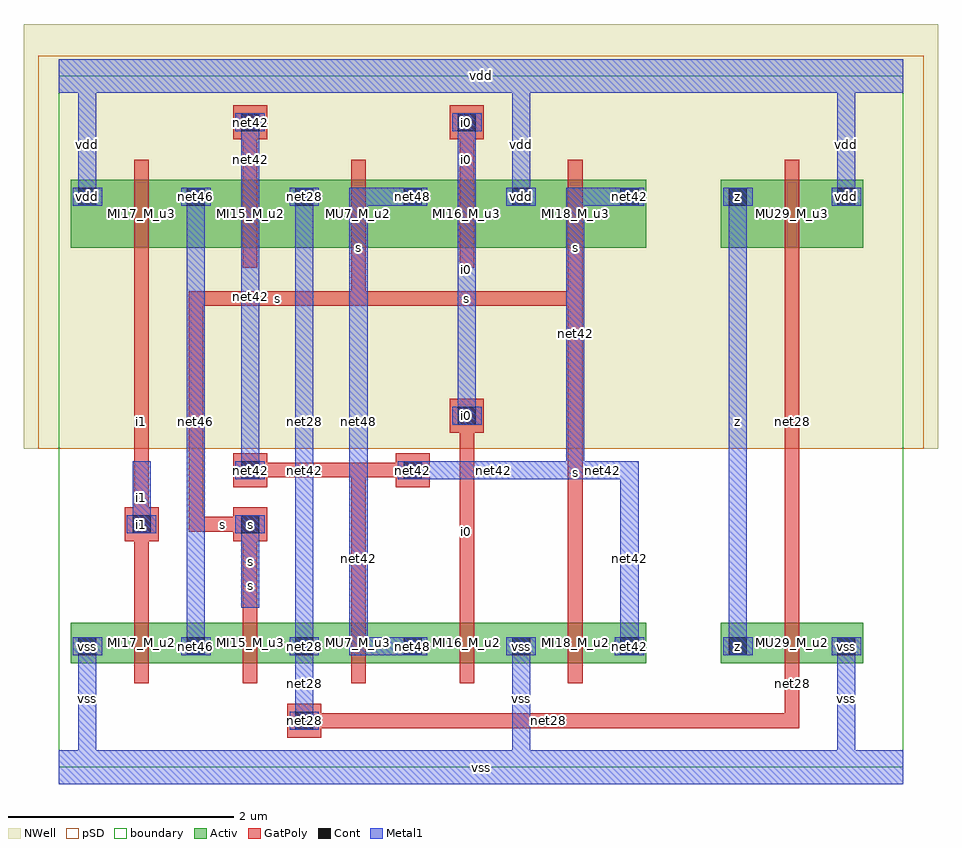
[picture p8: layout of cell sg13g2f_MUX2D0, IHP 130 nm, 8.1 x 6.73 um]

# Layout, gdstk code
import gdstk
lib = gdstk.Library(unit=1e-6, precision=1e-09)
def R(c, l, rs):  # rectangles x0, y0, x1, y1
    for r in rs: c.add(gdstk.rectangle(r[:2], r[2:], *l))
def A(c, l, x, y, w, h, nx, ny, dx, dy):  # array of equal rectangles
    R(c, l, [(x+i*dx, y+j*dy, x+i*dx+w, y+j*dy+h) for i in range(nx) for j in range(ny)])
Activ = (1, 0)
GatPoly = (5, 0)
Cont = (6, 0)
Metal1 = (8, 0)
pSD = (14, 0)
NWell = (31, 0)
TEXT = (63, 0)
boundary = (189, 4)

sg13g2f_mux2d0 = lib.new_cell('sg13g2f_MUX2D0')
A(sg13g2f_mux2d0, Activ, 0.105, 0.92, 1.26, 0.36, 5, 1, 0.96, 0)
A(sg13g2f_mux2d0, Activ, 0.105, 0.92, 0.3, 0.3, 8, 2, 0.96, 3.98)
A(sg13g2f_mux2d0, Activ, 0.105, 4.6, 1.26, 0.6, 5, 1, 0.96, 0)
R(sg13g2f_mux2d0, Activ, [(5.865,0.92,7.125,1.28), (5.865,4.6,7.125,5.2)])
A(sg13g2f_mux2d0, GatPoly, 0.67, 0.74, 0.13, 0.72, 5, 1, 0.96, 0)
A(sg13g2f_mux2d0, GatPoly, 0.67, 4.42, 0.13, 0.96, 5, 1, 0.96, 0)
R(sg13g2f_mux2d0, GatPoly, [(2.025,0.26,2.325,0.56), (2.11,0.345,6.56,0.475), (6.43,0.345,6.56,1.135), (6.43,0.74,6.56,1.46), (0.67,1.005,0.8,5.115), (1.63,1.005,1.76,2.215), (2.59,1.005,2.72,2.695), (3.55,1.005,3.68,3.175), (4.51,1.005,4.64,4.215), (6.43,1.005,6.56,5.115), (0.585,2,0.885,2.3), (1.545,2,1.845,2.3), (1.15,2.085,1.76,2.215), (1.15,2.085,1.28,4.215), (1.545,2.48,1.845,2.78), (2.985,2.48,3.285,2.78), (1.63,2.565,2.72,2.695), (2.59,2.565,3.2,2.695), (3.465,2.96,3.765,3.26), (1.15,4.085,2.72,4.215), (2.59,4.085,2.72,5.115), (2.59,4.085,4.64,4.215), (4.51,4.085,4.64,5.115), (6.43,4.42,6.56,5.38), (1.63,4.985,1.76,5.775), (3.55,4.985,3.68,5.775), (1.545,5.56,1.845,5.86), (3.465,5.56,3.765,5.86)])
A(sg13g2f_mux2d0, Cont, 0.175, 0.99, 0.16, 0.16, 8, 2, 0.96, 3.98)
R(sg13g2f_mux2d0, Cont, [(2.095,0.33,2.255,0.49), (0.655,2.07,0.815,2.23), (1.615,2.07,1.775,2.23), (1.615,2.55,1.775,2.71), (3.055,2.55,3.215,2.71), (3.535,3.03,3.695,3.19), (1.615,5.63,1.775,5.79), (3.535,5.63,3.695,5.79)])
A(sg13g2f_mux2d0, Metal1, 0.125, 0.99, 0.26, 0.16, 8, 2, 0.96, 3.98)
R(sg13g2f_mux2d0, Metal1, [(0,-0.15,7.48,0.15), (0.175,0.07,0.335,1.15), (4.015,0.07,4.175,1.15), (6.895,0.07,7.055,1.15), (2.045,0.33,2.305,0.49), (2.095,0.33,2.255,1.15), (1.135,0.99,1.295,5.13), (2.095,0.99,2.255,5.13), (2.575,0.99,2.735,5.13), (2.575,0.99,3.215,1.15), (4.975,0.99,5.135,2.71), (5.935,0.99,6.095,5.13), (1.615,1.41,1.775,2.23), (0.605,2.07,0.865,2.23), (0.655,2.07,0.815,2.71), (1.565,2.07,1.825,2.23), (1.565,2.55,1.825,2.71), (1.615,2.55,1.775,5.79), (3.005,2.55,3.265,2.71), (3.055,2.55,4.655,2.71), (4.495,2.55,5.135,2.71), (4.495,2.55,4.655,5.13), (3.485,3.03,3.745,3.19), (3.535,3.03,3.695,5.79), (0.175,4.97,0.335,6.05), (2.575,4.97,3.215,5.13), (4.015,4.97,4.175,6.05), (4.495,4.97,5.135,5.13), (6.895,4.97,7.055,6.05), (1.565,5.63,1.825,5.79), (3.485,5.63,3.745,5.79), (0,5.97,7.48,6.27)])
R(sg13g2f_mux2d0, pSD, [(-0.18,2.82,7.66,5.94), (-0.18,5.94,7.66,6.3)])
R(sg13g2f_mux2d0, NWell, [(-0.31,2.82,7.79,6.58)])
R(sg13g2f_mux2d0, boundary, [(0,0,7.48,6.12)])
sg13g2f_mux2d0.add(gdstk.FlexPath([(0.105,0.41),(7.125,0.41)], 0, ends="flush", simple_path=True, layer=63, datatype=0))  # TEXT
sg13g2f_mux2d0.add(gdstk.FlexPath([(0.105,1.07),(7.125,1.07)], 0, ends="flush", simple_path=True, layer=63, datatype=0))  # TEXT
sg13g2f_mux2d0.add(gdstk.FlexPath([(0.105,1.49),(7.125,1.49)], 0, ends="flush", simple_path=True, layer=63, datatype=0))  # TEXT
sg13g2f_mux2d0.add(gdstk.FlexPath([(0.105,2.15),(7.125,2.15)], 0, ends="flush", simple_path=True, layer=63, datatype=0))  # TEXT
sg13g2f_mux2d0.add(gdstk.FlexPath([(0.105,2.63),(7.125,2.63)], 0, ends="flush", simple_path=True, layer=63, datatype=0))  # TEXT
sg13g2f_mux2d0.add(gdstk.FlexPath([(0.105,3.11),(7.125,3.11)], 0, ends="flush", simple_path=True, layer=63, datatype=0))  # TEXT
sg13g2f_mux2d0.add(gdstk.FlexPath([(0.105,4.15),(7.125,4.15)], 0, ends="flush", simple_path=True, layer=63, datatype=0))  # TEXT
sg13g2f_mux2d0.add(gdstk.FlexPath([(0.105,4.71),(7.125,4.71)], 0, ends="flush", simple_path=True, layer=63, datatype=0))  # TEXT
sg13g2f_mux2d0.add(gdstk.FlexPath([(0.105,5.05),(7.125,5.05)], 0, ends="flush", simple_path=True, layer=63, datatype=0))  # TEXT
sg13g2f_mux2d0.add(gdstk.FlexPath([(0.105,5.71),(7.125,5.71)], 0, ends="flush", simple_path=True, layer=63, datatype=0))  # TEXT
sg13g2f_mux2d0.add(gdstk.FlexPath([(0.255,0.07),(0.255,6.05)], 0, ends="flush", simple_path=True, layer=63, datatype=0))  # TEXT
sg13g2f_mux2d0.add(gdstk.FlexPath([(0.735,0.07),(0.735,6.05)], 0, ends="flush", simple_path=True, layer=63, datatype=0))  # TEXT
sg13g2f_mux2d0.add(gdstk.FlexPath([(1.215,0.07),(1.215,6.05)], 0, ends="flush", simple_path=True, layer=63, datatype=0))  # TEXT
sg13g2f_mux2d0.add(gdstk.FlexPath([(1.695,0.07),(1.695,6.05)], 0, ends="flush", simple_path=True, layer=63, datatype=0))  # TEXT
sg13g2f_mux2d0.add(gdstk.FlexPath([(2.175,0.07),(2.175,6.05)], 0, ends="flush", simple_path=True, layer=63, datatype=0))  # TEXT
sg13g2f_mux2d0.add(gdstk.FlexPath([(2.655,0.07),(2.655,6.05)], 0, ends="flush", simple_path=True, layer=63, datatype=0))  # TEXT
sg13g2f_mux2d0.add(gdstk.FlexPath([(3.135,0.07),(3.135,6.05)], 0, ends="flush", simple_path=True, layer=63, datatype=0))  # TEXT
sg13g2f_mux2d0.add(gdstk.FlexPath([(3.615,0.07),(3.615,6.05)], 0, ends="flush", simple_path=True, layer=63, datatype=0))  # TEXT
sg13g2f_mux2d0.add(gdstk.FlexPath([(4.095,0.07),(4.095,6.05)], 0, ends="flush", simple_path=True, layer=63, datatype=0))  # TEXT
sg13g2f_mux2d0.add(gdstk.FlexPath([(4.575,0.07),(4.575,6.05)], 0, ends="flush", simple_path=True, layer=63, datatype=0))  # TEXT
sg13g2f_mux2d0.add(gdstk.FlexPath([(5.055,0.07),(5.055,6.05)], 0, ends="flush", simple_path=True, layer=63, datatype=0))  # TEXT
sg13g2f_mux2d0.add(gdstk.FlexPath([(5.535,0.07),(5.535,6.05)], 0, ends="flush", simple_path=True, layer=63, datatype=0))  # TEXT
sg13g2f_mux2d0.add(gdstk.FlexPath([(6.015,0.07),(6.015,6.05)], 0, ends="flush", simple_path=True, layer=63, datatype=0))  # TEXT
sg13g2f_mux2d0.add(gdstk.FlexPath([(6.495,0.07),(6.495,6.05)], 0, ends="flush", simple_path=True, layer=63, datatype=0))  # TEXT
sg13g2f_mux2d0.add(gdstk.FlexPath([(6.975,0.07),(6.975,6.05)], 0, ends="flush", simple_path=True, layer=63, datatype=0))  # TEXT
sg13g2f_mux2d0.add(gdstk.Label('net46', (1.215,1.07), layer=6, texttype=0))
sg13g2f_mux2d0.add(gdstk.Label('net46', (1.215,5.05), layer=6, texttype=0))
sg13g2f_mux2d0.add(gdstk.Label('s', (1.695,2.15), layer=6, texttype=0))
sg13g2f_mux2d0.add(gdstk.Label('net28', (2.175,1.07), layer=6, texttype=0))
sg13g2f_mux2d0.add(gdstk.Label('net28', (2.175,5.05), layer=6, texttype=0))
sg13g2f_mux2d0.add(gdstk.Label('net28', (2.175,0.41), layer=6, texttype=0))
sg13g2f_mux2d0.add(gdstk.Label('net48', (3.135,1.07), layer=6, texttype=0))
sg13g2f_mux2d0.add(gdstk.Label('net48', (3.135,5.05), layer=6, texttype=0))
sg13g2f_mux2d0.add(gdstk.Label('net42', (5.055,1.07), layer=6, texttype=0))
sg13g2f_mux2d0.add(gdstk.Label('net42', (5.055,5.05), layer=6, texttype=0))
sg13g2f_mux2d0.add(gdstk.Label('net42', (1.695,2.63), layer=6, texttype=0))
sg13g2f_mux2d0.add(gdstk.Label('net42', (1.695,5.71), layer=6, texttype=0))
sg13g2f_mux2d0.add(gdstk.Label('net42', (3.135,2.63), layer=6, texttype=0))
sg13g2f_mux2d0.add(gdstk.Label('i0', (3.615,3.11), layer=6, texttype=0))
sg13g2f_mux2d0.add(gdstk.Label('i0', (3.615,5.71), layer=6, texttype=0))
sg13g2f_mux2d0.add(gdstk.Label('i1', (0.735,2.15), layer=6, texttype=0))
sg13g2f_mux2d0.add(gdstk.Label('z', (6.015,1.07), layer=6, texttype=0))
sg13g2f_mux2d0.add(gdstk.Label('z', (6.015,5.05), layer=6, texttype=0))
sg13g2f_mux2d0.add(gdstk.Label('vss', (4.095,1.07), layer=6, texttype=0))
sg13g2f_mux2d0.add(gdstk.Label('vss', (0.255,1.07), layer=6, texttype=0))
sg13g2f_mux2d0.add(gdstk.Label('vss', (6.975,1.07), layer=6, texttype=0))
sg13g2f_mux2d0.add(gdstk.Label('vdd', (4.095,5.05), layer=6, texttype=0))
sg13g2f_mux2d0.add(gdstk.Label('vdd', (0.255,5.05), layer=6, texttype=0))
sg13g2f_mux2d0.add(gdstk.Label('vdd', (6.975,5.05), layer=6, texttype=0))
sg13g2f_mux2d0.add(gdstk.Label('net46', (1.215,1.07), layer=8, texttype=0))
sg13g2f_mux2d0.add(gdstk.Label('net46', (1.215,5.05), layer=8, texttype=0))
sg13g2f_mux2d0.add(gdstk.Label('net46', (1.215,3.06), layer=8, texttype=0))
sg13g2f_mux2d0.add(gdstk.Label('net28', (2.175,1.07), layer=8, texttype=0))
sg13g2f_mux2d0.add(gdstk.Label('net28', (2.175,5.05), layer=8, texttype=0))
sg13g2f_mux2d0.add(gdstk.Label('net28', (2.175,0.74), layer=8, texttype=0))
sg13g2f_mux2d0.add(gdstk.Label('net28', (2.175,0.41), layer=8, texttype=0))
sg13g2f_mux2d0.add(gdstk.Label('net28', (2.175,3.06), layer=8, texttype=0))
sg13g2f_mux2d0.add(gdstk.Label('net48', (3.135,1.07), layer=8, texttype=0))
sg13g2f_mux2d0.add(gdstk.Label('net48', (3.135,5.05), layer=8, texttype=0))
sg13g2f_mux2d0.add(gdstk.Label('net48', (2.895,1.07), layer=8, texttype=0))
sg13g2f_mux2d0.add(gdstk.Label('net48', (2.655,3.06), layer=8, texttype=0))
sg13g2f_mux2d0.add(gdstk.Label('net48', (2.895,5.05), layer=8, texttype=0))
sg13g2f_mux2d0.add(gdstk.Label('net42', (5.055,1.07), layer=8, texttype=0))
sg13g2f_mux2d0.add(gdstk.Label('net42', (5.055,5.05), layer=8, texttype=0))
sg13g2f_mux2d0.add(gdstk.Label('net42', (1.695,2.63), layer=8, texttype=0))
sg13g2f_mux2d0.add(gdstk.Label('net42', (1.695,4.17), layer=8, texttype=0))
sg13g2f_mux2d0.add(gdstk.Label('net42', (1.695,5.71), layer=8, texttype=0))
sg13g2f_mux2d0.add(gdstk.Label('net42', (3.135,2.63), layer=8, texttype=0))
sg13g2f_mux2d0.add(gdstk.Label('net42', (3.855,2.63), layer=8, texttype=0))
sg13g2f_mux2d0.add(gdstk.Label('net42', (4.575,3.84), layer=8, texttype=0))
sg13g2f_mux2d0.add(gdstk.Label('net42', (4.815,5.05), layer=8, texttype=0))
sg13g2f_mux2d0.add(gdstk.Label('net42', (5.055,1.85), layer=8, texttype=0))
sg13g2f_mux2d0.add(gdstk.Label('net42', (4.815,2.63), layer=8, texttype=0))
sg13g2f_mux2d0.add(gdstk.Label('vss', (4.095,1.07), layer=8, texttype=0))
sg13g2f_mux2d0.add(gdstk.Label('vss', (4.095,0.61), layer=8, texttype=0))
sg13g2f_mux2d0.add(gdstk.Label('vss', (0.255,1.07), layer=8, texttype=0))
sg13g2f_mux2d0.add(gdstk.Label('vss', (0.255,0.61), layer=8, texttype=0))
sg13g2f_mux2d0.add(gdstk.Label('vss', (6.975,1.07), layer=8, texttype=0))
sg13g2f_mux2d0.add(gdstk.Label('vss', (6.975,0.61), layer=8, texttype=0))
sg13g2f_mux2d0.add(gdstk.Label('vdd', (4.095,5.05), layer=8, texttype=0))
sg13g2f_mux2d0.add(gdstk.Label('vdd', (4.095,5.51), layer=8, texttype=0))
sg13g2f_mux2d0.add(gdstk.Label('vdd', (0.255,5.05), layer=8, texttype=0))
sg13g2f_mux2d0.add(gdstk.Label('vdd', (0.255,5.51), layer=8, texttype=0))
sg13g2f_mux2d0.add(gdstk.Label('vdd', (6.975,5.05), layer=8, texttype=0))
sg13g2f_mux2d0.add(gdstk.Label('vdd', (6.975,5.51), layer=8, texttype=0))
sg13g2f_mux2d0.add(gdstk.Label('s', (1.695,2.15), layer=8, texttype=2))
sg13g2f_mux2d0.add(gdstk.Label('s', (1.695,1.82), layer=8, texttype=2))
sg13g2f_mux2d0.add(gdstk.Label('i0', (3.615,3.11), layer=8, texttype=2))
sg13g2f_mux2d0.add(gdstk.Label('i0', (3.615,4.41), layer=8, texttype=2))
sg13g2f_mux2d0.add(gdstk.Label('i0', (3.615,5.71), layer=8, texttype=2))
sg13g2f_mux2d0.add(gdstk.Label('i1', (0.735,2.15), layer=8, texttype=2))
sg13g2f_mux2d0.add(gdstk.Label('i1', (0.735,2.39), layer=8, texttype=2))
sg13g2f_mux2d0.add(gdstk.Label('z', (6.015,1.07), layer=8, texttype=2))
sg13g2f_mux2d0.add(gdstk.Label('z', (6.015,5.05), layer=8, texttype=2))
sg13g2f_mux2d0.add(gdstk.Label('z', (6.015,3.06), layer=8, texttype=2))
sg13g2f_mux2d0.add(gdstk.Label('vss', (3.74,0), layer=8, texttype=2))
sg13g2f_mux2d0.add(gdstk.Label('vdd', (3.74,6.12), layer=8, texttype=2))
sg13g2f_mux2d0.add(gdstk.Label('s', (1.695,2.15), layer=8, texttype=2))
sg13g2f_mux2d0.add(gdstk.Label('s', (1.695,1.82), layer=8, texttype=2))
sg13g2f_mux2d0.add(gdstk.Label('i0', (3.615,3.11), layer=8, texttype=2))
sg13g2f_mux2d0.add(gdstk.Label('i0', (3.615,4.41), layer=8, texttype=2))
sg13g2f_mux2d0.add(gdstk.Label('i0', (3.615,5.71), layer=8, texttype=2))
sg13g2f_mux2d0.add(gdstk.Label('i1', (0.735,2.15), layer=8, texttype=2))
sg13g2f_mux2d0.add(gdstk.Label('i1', (0.735,2.39), layer=8, texttype=2))
sg13g2f_mux2d0.add(gdstk.Label('z', (6.015,1.07), layer=8, texttype=2))
sg13g2f_mux2d0.add(gdstk.Label('z', (6.015,5.05), layer=8, texttype=2))
sg13g2f_mux2d0.add(gdstk.Label('z', (6.015,3.06), layer=8, texttype=2))
sg13g2f_mux2d0.add(gdstk.Label('vss', (3.74,0), layer=8, texttype=2))
sg13g2f_mux2d0.add(gdstk.Label('vdd', (3.74,6.12), layer=8, texttype=2))
sg13g2f_mux2d0.add(gdstk.Label('MI15_M_u3', (1.695,1.1), layer=1, texttype=0))
sg13g2f_mux2d0.add(gdstk.Label('MU7_M_u3', (2.655,1.1), layer=1, texttype=0))
sg13g2f_mux2d0.add(gdstk.Label('MI16_M_u2', (3.615,1.1), layer=1, texttype=0))
sg13g2f_mux2d0.add(gdstk.Label('MI17_M_u2', (0.735,1.1), layer=1, texttype=0))
sg13g2f_mux2d0.add(gdstk.Label('MI18_M_u2', (4.575,1.1), layer=1, texttype=0))
sg13g2f_mux2d0.add(gdstk.Label('MU29_M_u2', (6.495,1.1), layer=1, texttype=0))
sg13g2f_mux2d0.add(gdstk.Label('MI15_M_u2', (1.695,4.9), layer=1, texttype=0))
sg13g2f_mux2d0.add(gdstk.Label('MU7_M_u2', (2.655,4.9), layer=1, texttype=0))
sg13g2f_mux2d0.add(gdstk.Label('MI16_M_u3', (3.615,4.9), layer=1, texttype=0))
sg13g2f_mux2d0.add(gdstk.Label('MI17_M_u3', (0.735,4.9), layer=1, texttype=0))
sg13g2f_mux2d0.add(gdstk.Label('MI18_M_u3', (4.575,4.9), layer=1, texttype=0))
sg13g2f_mux2d0.add(gdstk.Label('MU29_M_u3', (6.495,4.9), layer=1, texttype=0))
sg13g2f_mux2d0.add(gdstk.Label('net46', (1.215,1.07), layer=1, texttype=0))
sg13g2f_mux2d0.add(gdstk.Label('net46', (1.215,5.05), layer=1, texttype=0))
sg13g2f_mux2d0.add(gdstk.Label('net28', (2.175,1.07), layer=1, texttype=0))
sg13g2f_mux2d0.add(gdstk.Label('net28', (2.175,5.05), layer=1, texttype=0))
sg13g2f_mux2d0.add(gdstk.Label('net48', (3.135,1.07), layer=1, texttype=0))
sg13g2f_mux2d0.add(gdstk.Label('net48', (3.135,5.05), layer=1, texttype=0))
sg13g2f_mux2d0.add(gdstk.Label('net42', (5.055,1.07), layer=1, texttype=0))
sg13g2f_mux2d0.add(gdstk.Label('net42', (5.055,5.05), layer=1, texttype=0))
sg13g2f_mux2d0.add(gdstk.Label('z', (6.015,1.07), layer=1, texttype=0))
sg13g2f_mux2d0.add(gdstk.Label('z', (6.015,5.05), layer=1, texttype=0))
sg13g2f_mux2d0.add(gdstk.Label('vss', (4.095,1.07), layer=1, texttype=0))
sg13g2f_mux2d0.add(gdstk.Label('vss', (0.255,1.07), layer=1, texttype=0))
sg13g2f_mux2d0.add(gdstk.Label('vss', (6.975,1.07), layer=1, texttype=0))
sg13g2f_mux2d0.add(gdstk.Label('vdd', (4.095,5.05), layer=1, texttype=0))
sg13g2f_mux2d0.add(gdstk.Label('vdd', (0.255,5.05), layer=1, texttype=0))
sg13g2f_mux2d0.add(gdstk.Label('vdd', (6.975,5.05), layer=1, texttype=0))
sg13g2f_mux2d0.add(gdstk.Label('s', (1.695,2.15), layer=8, texttype=25))
sg13g2f_mux2d0.add(gdstk.Label('s', (1.695,1.82), layer=8, texttype=25))
sg13g2f_mux2d0.add(gdstk.Label('i0', (3.615,3.11), layer=8, texttype=25))
sg13g2f_mux2d0.add(gdstk.Label('i0', (3.615,4.41), layer=8, texttype=25))
sg13g2f_mux2d0.add(gdstk.Label('i0', (3.615,5.71), layer=8, texttype=25))
sg13g2f_mux2d0.add(gdstk.Label('i1', (0.735,2.15), layer=8, texttype=25))
sg13g2f_mux2d0.add(gdstk.Label('i1', (0.735,2.39), layer=8, texttype=25))
sg13g2f_mux2d0.add(gdstk.Label('z', (6.015,1.07), layer=8, texttype=25))
sg13g2f_mux2d0.add(gdstk.Label('z', (6.015,5.05), layer=8, texttype=25))
sg13g2f_mux2d0.add(gdstk.Label('z', (6.015,3.06), layer=8, texttype=25))
sg13g2f_mux2d0.add(gdstk.Label('vss', (3.74,0), layer=8, texttype=25))
sg13g2f_mux2d0.add(gdstk.Label('vdd', (3.74,6.12), layer=8, texttype=25))
sg13g2f_mux2d0.add(gdstk.Label('s', (1.695,1.61), layer=5, texttype=0))
sg13g2f_mux2d0.add(gdstk.Label('s', (1.455,2.15), layer=5, texttype=0))
sg13g2f_mux2d0.add(gdstk.Label('s', (1.215,3.15), layer=5, texttype=0))
sg13g2f_mux2d0.add(gdstk.Label('s', (1.935,4.15), layer=5, texttype=0))
sg13g2f_mux2d0.add(gdstk.Label('s', (2.655,4.6), layer=5, texttype=0))
sg13g2f_mux2d0.add(gdstk.Label('s', (3.615,4.15), layer=5, texttype=0))
sg13g2f_mux2d0.add(gdstk.Label('s', (4.575,4.6), layer=5, texttype=0))
sg13g2f_mux2d0.add(gdstk.Label('s', (4.575,2.61), layer=5, texttype=0))
sg13g2f_mux2d0.add(gdstk.Label('s', (1.695,2.15), layer=5, texttype=0))
sg13g2f_mux2d0.add(gdstk.Label('net28', (2.175,0.41), layer=5, texttype=0))
sg13g2f_mux2d0.add(gdstk.Label('net28', (4.335,0.41), layer=5, texttype=0))
sg13g2f_mux2d0.add(gdstk.Label('net28', (6.495,0.74), layer=5, texttype=0))
sg13g2f_mux2d0.add(gdstk.Label('net28', (6.495,3.06), layer=5, texttype=0))
sg13g2f_mux2d0.add(gdstk.Label('net42', (2.655,1.85), layer=5, texttype=0))
sg13g2f_mux2d0.add(gdstk.Label('net42', (2.175,2.63), layer=5, texttype=0))
sg13g2f_mux2d0.add(gdstk.Label('net42', (1.695,2.63), layer=5, texttype=0))
sg13g2f_mux2d0.add(gdstk.Label('net42', (1.695,5.71), layer=5, texttype=0))
sg13g2f_mux2d0.add(gdstk.Label('net42', (1.695,5.38), layer=5, texttype=0))
sg13g2f_mux2d0.add(gdstk.Label('net42', (2.895,2.63), layer=5, texttype=0))
sg13g2f_mux2d0.add(gdstk.Label('net42', (3.135,2.63), layer=5, texttype=0))
sg13g2f_mux2d0.add(gdstk.Label('i0', (3.615,2.09), layer=5, texttype=0))
sg13g2f_mux2d0.add(gdstk.Label('i0', (3.615,3.11), layer=5, texttype=0))
sg13g2f_mux2d0.add(gdstk.Label('i0', (3.615,5.71), layer=5, texttype=0))
sg13g2f_mux2d0.add(gdstk.Label('i0', (3.615,5.38), layer=5, texttype=0))
sg13g2f_mux2d0.add(gdstk.Label('i1', (0.735,3.06), layer=5, texttype=0))
sg13g2f_mux2d0.add(gdstk.Label('i1', (0.735,2.15), layer=5, texttype=0))

lib.write_gds('sg13g2f_MUX2D0.gds')
